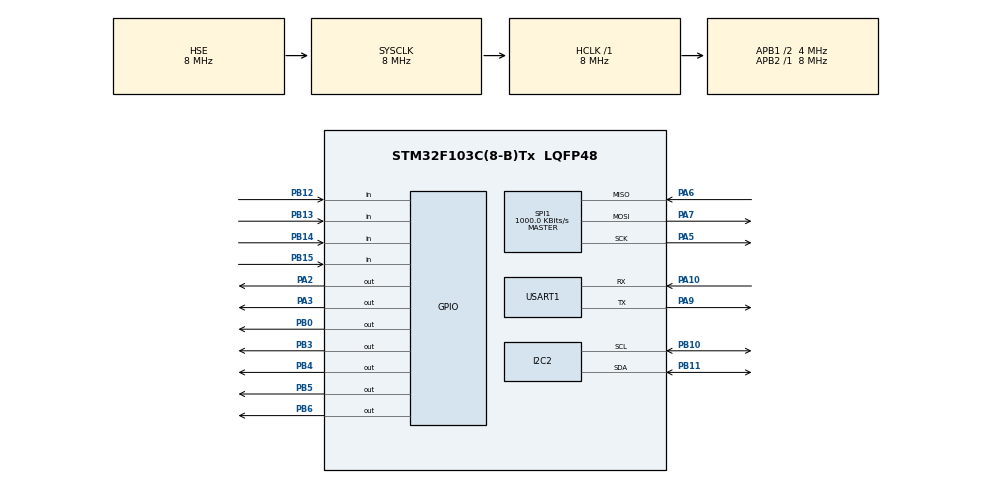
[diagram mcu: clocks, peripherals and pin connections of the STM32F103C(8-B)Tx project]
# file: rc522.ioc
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Dma.Request0=USART1_TX
Dma.USART1_TX.0.Direction=DMA_MEMORY_TO_PERIPH
Dma.USART1_TX.0.Instance=DMA1_Channel4
Dma.USART1_TX.0.MemDataAlignment=DMA_MDATAALIGN_BYTE
Dma.USART1_TX.0.MemInc=DMA_MINC_ENABLE
Dma.USART1_TX.0.Mode=DMA_NORMAL
Dma.USART1_TX.0.PeriphDataAlignment=DMA_PDATAALIGN_BYTE
Dma.USART1_TX.0.PeriphInc=DMA_PINC_DISABLE
Dma.USART1_TX.0.Priority=DMA_PRIORITY_LOW
I2C2.I2C_Mode=I2C_Fast
Mcu.Family=STM32F1
Mcu.Name=STM32F103C(8-B)Tx
Mcu.Package=LQFP48
NVIC.DMA1_Channel4_IRQn=true\:0\:0\:false\:false\:true\:false\:true\:true
NVIC.PriorityGroup=NVIC_PRIORITYGROUP_4
NVIC.USART1_IRQn=true\:1\:0\:true\:false\:true\:true\:true\:true
PA10.Mode=Asynchronous
PA10.Signal=USART1_RX
PA13.Mode=Serial_Wire
PA13.Signal=SYS_JTMS-SWDIO
PA14.Mode=Serial_Wire
PA14.Signal=SYS_JTCK-SWCLK
PA2.GPIO_PuPd=GPIO_PULLDOWN
PA2.GPIO_Speed=GPIO_SPEED_FREQ_LOW
PA2.Signal=GPIO_Output
PA3.Signal=GPIO_Output
PA5.Mode=Full_Duplex_Master
PA5.Signal=SPI1_SCK
PA6.Mode=Full_Duplex_Master
PA6.Signal=SPI1_MISO
PA7.Mode=Full_Duplex_Master
PA7.Signal=SPI1_MOSI
PA9.Mode=Asynchronous
PA9.Signal=USART1_TX
PB0.Signal=GPIO_Output
PB10.Mode=I2C
PB10.Signal=I2C2_SCL
PB11.Mode=I2C
PB11.Signal=I2C2_SDA
PB12.GPIO_Mode=GPIO_MODE_INPUT
PB12.GPIO_PuPd=GPIO_PULLUP
PB12.Signal=GPIO_Input
PB13.GPIO_Mode=GPIO_MODE_INPUT
PB13.GPIO_PuPd=GPIO_PULLUP
PB13.Signal=GPIO_Input
PB14.GPIO_Mode=GPIO_MODE_INPUT
PB14.GPIO_PuPd=GPIO_PULLUP
PB14.Signal=GPIO_Input
PB15.GPIO_Mode=GPIO_MODE_INPUT
PB15.GPIO_PuPd=GPIO_PULLUP
PB15.Signal=GPIO_Input
PB3.GPIO_PuPd=GPIO_PULLDOWN
PB3.Signal=GPIO_Output
PB4.GPIO_PuPd=GPIO_PULLDOWN
PB4.Signal=GPIO_Output
PB5.GPIO_PuPd=GPIO_PULLDOWN
PB5.Signal=GPIO_Output
PB6.GPIO_PuPd=GPIO_PULLDOWN
PB6.Signal=GPIO_Output
PD0-OSC_IN.Mode=HSE-External-Oscillator
PD0-OSC_IN.Signal=RCC_OSC_IN
PD1-OSC_OUT.Mode=HSE-External-Oscillator
PD1-OSC_OUT.Signal=RCC_OSC_OUT
ProjectManager.HeapSize=0x200
ProjectManager.StackSize=0x400
ProjectManager.TargetToolchain=STM32CubeIDE
RCC.AHBFreq_Value=8000000
RCC.APB1CLKDivider=RCC_HCLK_DIV2
RCC.APB1Freq_Value=4000000
RCC.APB1TimFreq_Value=8000000
RCC.APB2Freq_Value=8000000
RCC.APB2TimFreq_Value=8000000
RCC.HCLKFreq_Value=8000000
RCC.PLLMUL=RCC_PLL_MUL9
RCC.PLLSourceVirtual=RCC_PLLSOURCE_HSE
RCC.SYSCLKFreq_VALUE=8000000
RCC.SYSCLKSource=RCC_SYSCLKSOURCE_HSE
RCC.USBFreq_Value=72000000
SPI1.BaudRatePrescaler=SPI_BAUDRATEPRESCALER_8
SPI1.CalculateBaudRate=1000.0 KBits/s
SPI1.Direction=SPI_DIRECTION_2LINES
SPI1.Mode=SPI_MODE_MASTER
SPI1.VirtualType=VM_MASTER
USART1.VirtualMode=VM_ASYNC
VP_RTC_No_RTC_Output.Mode=RTC_OUT_NO
VP_RTC_VS_RTC_Activate.Mode=RTC_Enabled
VP_RTC_VS_RTC_Calendar.Mode=RTC_Calendar
board=custom

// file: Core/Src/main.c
/* USER CODE BEGIN Header */
/**
  ******************************************************************************
  * @file           : main.c
  * @brief          : Main program body
  ******************************************************************************
  * @attention
  *
  * Copyright (c) 2025 STMicroelectronics.
  * All rights reserved.
  *
  * This software is licensed under terms that can be found in the LICENSE file
  * in the root directory of this software component.
  * If no LICENSE file comes with this software, it is provided AS-IS.
  *
  ******************************************************************************
  */
/* USER CODE END Header */
#include "main.h"

/* USER CODE BEGIN Includes */
#include "stdio.h"
#include "ctype.h"
#include "ssd1306.h"
#include "fonts.h"
#include "rc522.h"
#include "string.h"
#include "STM32_Keypad4x4.h"
/* USER CODE END Includes */

/* USER CODE BEGIN PTD */
typedef struct Student Student;
RTC_TimeTypeDef sTime;
RTC_DateTypeDef sDate;

/* USER CODE END PTD */

/* USER CODE BEGIN PD */
#define BUFFER_SIZE 500
#define MAX_STUDENTS 20 // Số lượng học sinh tối đa

#define FIFO_SIZE 10  // Dung lượng FIFO tối đa (10 URL)
#define URL_MAX_LENGTH 256  // Độ dài tối đa của URL
#define DELAY_MS 10000  // Thời gian delay giữa các lần gửi
/* USER CODE END PD */

/* USER CODE BEGIN PM */
struct Student {
  int id;
  char name[30];
  char code[11];
  char msv[13] ;
  char State[5];
};

typedef struct {
    char urls[FIFO_SIZE][URL_MAX_LENGTH];
    int head;
    int tail;
    int count;
    uint8_t sending;
} FIFO_t;

FIFO_t fifo = { .head = 0, .tail = 0, .count = 0, .sending = 0 };

/* USER CODE END PM */

I2C_HandleTypeDef hi2c2;

RTC_HandleTypeDef hrtc;

SPI_HandleTypeDef hspi1;

UART_HandleTypeDef huart1;
DMA_HandleTypeDef hdma_usart1_tx;

/* USER CODE BEGIN PV */
uint32_t lastSendTime = 0;  // Thời gian gửi URL cuối cùng
uint8_t status;
uint8_t str[MAX_LEN]; // Max_LEN = 16
uint8_t sNum[5];
char uidStr[11]; // Chuỗi để chứa UID dạng hex
char Key;

uint16_t len;
char buffer[BUFFER_SIZE];
char bufferTime[20];
char thoi_gian[20] = "";
char hour[10] = "";
uint8_t mode = 0;
char key_pad[5];

char URL [256] = " ";
char master_key[] ="C37BAE2C3A";

int studentCount = 20;

const char* Web_App_URL = "https://script.google.com/macros/s/AKfycbw715puKRx8atB5so9LJqHkDj7WYHC81akzjndNMlAhuG8Q40vDWrL2WK9HzJIMv4UkVA/exec";

//https://script.google.com/macros/s/AKfycbwssVUpCzr_4ROx3tVCOe5E2DRa5P1MQEhmhk9Ac9i-iJqP1feV4W1Mz4AtUMRZseK9Gg/exec
Student students[11] = {
		{1,"kien","C37BAE2C3A","22a1701d0137",""},
		{2,"vu","01A11702B5","22a1701d0138",""},
		{3,"an","35983A0295","22a1701d0139",""},
		{4,"tuan","BED13F0252","22a1701d0140",""},
		{5,"hieu","544C46025C","22a1701d0141",""},
		{6,"quang","4EBC4302B3","22a1701d0142",""},
		{7,"khanh","F70B3802C6","22a1701d0143",""},
		{8,"lam"," ","22a1701d0144",""},
		{9,"nguyen"," ","22a1701d0145",""},
		{10,"hehe"," ","22a1701d0146",""}

};
uint8_t H_in = 0;
uint8_t M_in = 0;
uint8_t s_in = 0;
char timeBuffer [7] = {'0','0','0','0','0','0'};
/* USER CODE END PV */

void SystemClock_Config(void);
static void MX_GPIO_Init(void);
static void MX_DMA_Init(void);
static void MX_SPI1_Init(void);
static void MX_I2C2_Init(void);
static void MX_USART1_UART_Init(void);
static void MX_RTC_Init(void);

/* USER CODE BEGIN 0 */

	uint32_t getCurrentTimeMs() {

		HAL_RTC_GetTime(&hrtc, &sTime, RTC_FORMAT_BIN);
		HAL_RTC_GetDate(&hrtc, &sDate, RTC_FORMAT_BIN);  // Bắt buộc phải đọc Date để cập nhật Time

		return (sTime.Seconds * 1000);  // Chỉ lấy số giây

	}
	void addURLToFIFO(char *url) {
	    if (fifo.count < FIFO_SIZE) {
	        strncpy(fifo.urls[fifo.head], url, URL_MAX_LENGTH);
	        fifo.head = (fifo.head + 1) % FIFO_SIZE;
	        fifo.count++;
	    }
	}
	void sendURLToESP32_DMA() {
	    if (fifo.count > 0 && fifo.sending == 0) {
	        char *urlBuffer = fifo.urls[fifo.tail];
	        fifo.sending = 1;
	        HAL_UART_Transmit_DMA(&huart1, (uint8_t *)urlBuffer, strlen(urlBuffer));
	    }
	}
	void processSendURL() {
	    uint32_t currentTime = getCurrentTimeMs();
	    if (fifo.count > 0 && !fifo.sending && (currentTime - lastSendTime >= DELAY_MS)) {
	        sendURLToESP32_DMA();
	    }
	}

	void buzzer() {
		HAL_GPIO_WritePin(GPIOA, GPIO_PIN_2, GPIO_PIN_SET);
		HAL_Delay(200);
		HAL_GPIO_WritePin(GPIOA, GPIO_PIN_2, GPIO_PIN_RESET);
	}

	void convertUIDToString(uint8_t *uid, char *str) {
	    sprintf(str, "%02X%02X%02X%02X%02X", uid[0], uid[1], uid[2], uid[3], uid[4]);
	}
	void wait();
	void settingkey(void);
	void updateTime();

	char* getStudentNameById(char* uid) {
	  for (int i = 0; i < studentCount; i++) {
	    if (strcmp(students[i].code, uid) == 0) {
	      return students[i].name;
	    }
	  }
	  return NULL; // Trả về nullptr nếu không tìm thấy
	}

	char* getStudentMsvById(char* uid) {
	  for (int i = 0; i < studentCount; i++) {
	    if (strcmp(students[i].code, uid) == 0) {
	      return students[i].msv;
	    }
	  }
	  return NULL; // Trả về nullptr nếu không tìm thấy
	}

	char* getStudentStateById(char* uid) {
		  for (int i = 0; i < studentCount; i++) {
		    if (strcmp(students[i].code, uid) == 0) {
		      return students[i].State;
		    }
		  }
		  return NULL; // Trả về nullptr nếu không tìm thấy
		}

	void changeInOut (char* uid){

	      for (int i = 0; i < studentCount; i++) {
			if (strcmp(students[i].code, uid) == 0) {
				if(strcmp(students[i].State, "vao") == 0) {
					  strcpy(students[i].State, "ra");
				  }else {strcpy(students[i].State, "vao");}
			}
	      }
	}
	void urlencode(const char *str, char *encodedString, size_t maxSize) {
	    size_t j = 0;
	    for (size_t i = 0; str[i] != '\0' && j < maxSize - 1; i++) {
	        char c = str[i];
	        if (c == ' ') {
	            encodedString[j++] = '+';
	        } else if ( isalnum(c)) {
	            encodedString[j++] = c;
	        } else {
	            if (j + 3 < maxSize - 1) {
	                snprintf(&encodedString[j], 4, "%%%02X", (unsigned char)c);
	                j += 3;
	            } else {
	                break;
	            }
	        }
	    }
	    encodedString[j] = '\0';
	}

	const char* checkLate() {

	    HAL_RTC_GetTime(&hrtc, &sTime, RTC_FORMAT_BIN);  // Lấy thời gian hiện tại từ RTC

	    if (sTime.Hours > H_in ||
	       (sTime.Hours == H_in && sTime.Minutes > M_in) ||
	       (sTime.Hours == H_in && sTime.Minutes == M_in && sTime.Seconds > s_in)) {
	        return "DI MUON";  // Sinh viên quẹt thẻ sau giờ vào lớp
	    }
	    return "";  // Sinh viên đến đúng giờ hoặc sớm hơn
	}

	void CreadURL(){
	    HAL_RTC_GetTime(&hrtc, &sTime, RTC_FORMAT_BIN);
	    HAL_RTC_GetDate(&hrtc, &sDate, RTC_FORMAT_BIN);
	    sprintf(hour, "%02d:%02d:%02d",sTime.Hours, sTime.Minutes, sTime.Seconds);

//		char URL [256] = " ";

	  	char charArray[11];
		memcpy(charArray, uidStr, 11);
	  	char* studentName = getStudentNameById(charArray);
	  	char* studentMsv = getStudentMsvById(charArray);
	  	char* State = getStudentStateById(charArray);
	  	changeInOut(charArray);
	  	const char* vaomuon;
		if (strcmp(State, "vao") == 0){
				vaomuon = checkLate();  // Kiểm tra sinh viên có đi muộn không
		}else vaomuon = " ";

	  	if (studentName != NULL ) {
	 		SSD1306_Clear();
	 		SSD1306_GotoXY (0,0);
	 		SSD1306_Puts ("XAC NHAN", &Font_7x10, 1);
	 		SSD1306_GotoXY (0,20);
	 		SSD1306_Puts ("DIEM DANH", &Font_7x10, 1);
	 		SSD1306_GotoXY (0,40);
	 		SSD1306_Puts (studentMsv, &Font_7x10, 1);
	 		SSD1306_UpdateScreen();
	 		HAL_Delay(500);

	 		 char name[50] = " ";
	 		 char state[6] = " ";
	 		 char vaolop[20]= " ";
	 		 char time[15] = " ";
	 		urlencode(hour,time,sizeof(time));
	 		urlencode(studentName,name,sizeof(name));
	 		urlencode(State,state,sizeof(state));
	 		urlencode(vaomuon,vaolop,sizeof(vaolop));

			sprintf(URL, "%s?sts=writelog&uid=%s&name=%s&inout=%s&msv=%s&note=%s&time=%s",Web_App_URL, uidStr, name,state, studentMsv, vaolop, time );

			addURLToFIFO(URL);  // Lưu URL vào FIFO
			HAL_Delay(200);
			SSD1306_GotoXY (0,0);
			SSD1306_Puts ("        ", &Font_7x10, 1);
			SSD1306_GotoXY (0,0);
			SSD1306_Puts ("DANG LUU...", &Font_7x10, 1);
			SSD1306_UpdateScreen();
			HAL_Delay(200);

			wait();
	 	 }else {
	 		  SSD1306_Clear();
	 		  SSD1306_GotoXY (0,0);
	 		  SSD1306_Puts ("not found", &Font_7x10, 1);
	 		  SSD1306_GotoXY (0,20);
	 		  SSD1306_Puts (uidStr, &Font_7x10, 1);
	 		  SSD1306_UpdateScreen();
	 		 HAL_Delay(500);
	 		 wait();
	 	 }
		return ;
	}
	void print_oled (char *Prt,int x,int y){
		SSD1306_Clear();
		SSD1306_GotoXY (x,y);
		SSD1306_Puts ( Prt, &Font_7x10, 1);
		SSD1306_UpdateScreen();
	}
	void readUID(){

		  status = MFRC522_Request(PICC_REQIDL, str);
		  status = MFRC522_Anticoll(str);
		  if(status == 0){
			  buzzer();
			  HAL_Delay(200);
			 // memset(URL, 0, sizeof(URL));

			  convertUIDToString(str, uidStr);
			  HAL_Delay(500);
			  if (strcmp(uidStr, master_key) == 0){

			// vào chế độ cài đặt với thẻ bằng bàn phím
				  settingkey();

			//

			  }else{CreadURL();}
		  }

	}
	void delete_card () {
		SSD1306_Clear();
		SSD1306_GotoXY (0,0);
		SSD1306_Puts ("DELETE CARD...", &Font_7x10, 1);
		SSD1306_UpdateScreen();

		while (1) {
			status = MFRC522_Request(PICC_REQIDL, str);
			status = MFRC522_Anticoll(str);
			if(status == 0){
				  buzzer();
				  HAL_Delay(200);
				 // memset(URL, 0, sizeof(URL));

				  convertUIDToString(str, uidStr);
				  HAL_Delay(500);
				  if (strcmp(uidStr, master_key) == 0){

					  break;
				  }
				  for (int i = 0; i < studentCount; i++) {
						if (strcmp(students[i].code, uidStr) == 0) {
							strcpy(students[i].code, " ");

						}
				  }

					SSD1306_GotoXY (0,10);
					SSD1306_Puts ("DA XOA!!!", &Font_7x10, 1);
					SSD1306_UpdateScreen();
					HAL_Delay(2000);
					SSD1306_GotoXY (0,10);
					SSD1306_Puts ("          ", &Font_7x10, 1);
					SSD1306_UpdateScreen();

			}
		}
		return;
	}

	void add_card() {
		SSD1306_Clear();
		SSD1306_GotoXY (0,0);
		SSD1306_Puts ("ADD CARD MODE", &Font_7x10, 1);
		SSD1306_UpdateScreen();
		HAL_Delay(500);
		SSD1306_GotoXY (0,11);
		SSD1306_Puts ("DANH SACH SV:", &Font_7x10, 1);
		SSD1306_UpdateScreen();
		HAL_Delay(1000);
		SSD1306_Clear();

		char numberID[3] = "";
		int i = 0;
		char state;

		while(i < studentCount){

		  if (strcmp(students[i].code, " ") == 0) {

				SSD1306_GotoXY (0,0);
				SSD1306_Puts ("ID: ", &Font_7x10, 1);
				SSD1306_GotoXY (30,0);
				SSD1306_Puts ("          ", &Font_7x10, 1);
				SSD1306_GotoXY (30,0);
				sprintf(numberID, "%d",students[i].id);
				SSD1306_Puts (numberID, &Font_7x10, 1);
				SSD1306_GotoXY (0,10);
				SSD1306_Puts ("NAME: ", &Font_7x10, 1);
				SSD1306_GotoXY (40,10);
				SSD1306_Puts ("              ", &Font_7x10, 1);
				SSD1306_GotoXY (40,10);
				SSD1306_Puts (students[i].name, &Font_7x10, 1);
				SSD1306_GotoXY (0,20);
				SSD1306_Puts ("MSV: ", &Font_7x10, 1);
				SSD1306_GotoXY (30,20);
				SSD1306_Puts ("                ", &Font_7x10, 1);
				SSD1306_GotoXY (30,20);
				SSD1306_Puts (students[i].msv, &Font_7x10, 1);
				SSD1306_UpdateScreen();
			}else if (i == studentCount - 1) {
				i = 0;
				}else{
					i++;
					continue;
				}

			state = KEYPAD_Read();
			if (state){
			switch(state) {
				case '*' :

					break;
				case '#' :

					i++;
					break;
				default:
					break;
				}

			}
			if (state == '1') {

				break;
			}
		}
		int numID = atoi(numberID) - 1;
		SSD1306_Clear();
		SSD1306_GotoXY (0,0);
		SSD1306_Puts (numberID, &Font_7x10, 1);
		SSD1306_UpdateScreen();
		HAL_Delay(2000);

		SSD1306_Clear();
		wait();
		int bien_quet = 1;
		while (bien_quet) {
			status = MFRC522_Request(PICC_REQIDL, str);
			status = MFRC522_Anticoll(str);
			if(status == 0){
				  buzzer();
				  HAL_Delay(200);
				 // memset(URL, 0, sizeof(URL));
				  convertUIDToString(str, uidStr);
				  HAL_Delay(500);
				  if (strcmp(uidStr, master_key) == 0){
					  break;
				  }
				  int i = 0;
				  for (i = 0; i < studentCount; i++) {
						if (strcmp(students[i].code, uidStr) == 0) {
							SSD1306_Clear();
							SSD1306_GotoXY (0,0);
							SSD1306_Puts ("THE DA CO DATA", &Font_7x10, 1);
							SSD1306_UpdateScreen();
							HAL_Delay(1000);
							SSD1306_Clear();
							SSD1306_GotoXY (0,0);
							SSD1306_Puts ("HAY QUET THE KHAC", &Font_7x10, 1);
							SSD1306_UpdateScreen();
							HAL_Delay(1000);
							break;
						}
						if(i == studentCount - 1) {
							SSD1306_Clear();
							SSD1306_GotoXY (0,0);
							SSD1306_Puts ("DA THEM THE", &Font_7x10, 1);
						    strcpy(students[numID].code, uidStr);
						    SSD1306_UpdateScreen();
						    HAL_Delay(1000);
						    SSD1306_Clear();
						    bien_quet = 0;
						}
				  }

//					SSD1306_GotoXY (0,10);
//					SSD1306_Puts ("DA XOA!!!", &Font_7x10, 1);
//					SSD1306_UpdateScreen();
//					HAL_Delay(2000);
//					SSD1306_GotoXY (0,10);
//					SSD1306_Puts ("          ", &Font_7x10, 1);
//					SSD1306_UpdateScreen();

			}
		}
		return;
	}

	void setTimeFromKeypad() {

//	    // Chuyển chuỗi thành số nguyên
		H_in = (timeBuffer[0] - '0') * 10 + (timeBuffer[1] - '0');
		M_in = (timeBuffer[2] - '0') * 10 + (timeBuffer[3] - '0');
		s_in = (timeBuffer[4] - '0') * 10 + (timeBuffer[5] - '0');

	}

	void set_time_in() {

		uint8_t index = 0;
		char tg;
		char str[2];
		uint8_t count = 0;
		uint8_t x = 0;

		SSD1306_Clear();
//		SSD1306_GotoXY (0,0);
//		SSD1306_Puts ("00:00:00", &Font_7x10, 1);
		SSD1306_GotoXY (0,0);
		str[0] = timeBuffer[0];
		str[1] = '\0';
		SSD1306_Puts (str, &Font_7x10, 1);
		str[0] = timeBuffer[1];
		str[1] = '\0';
		SSD1306_Puts (str, &Font_7x10, 1);
		SSD1306_Puts (":", &Font_7x10, 1);
		str[0] = timeBuffer[2];
		str[1] = '\0';
		SSD1306_Puts (str, &Font_7x10, 1);
		str[0] = timeBuffer[3];
		str[1] = '\0';
		SSD1306_Puts (str, &Font_7x10, 1);
		SSD1306_Puts (":", &Font_7x10, 1);
		str[0] = timeBuffer[4];
		str[1] = '\0';
		SSD1306_Puts (str, &Font_7x10, 1);
		str[0] = timeBuffer[5];
		str[1] = '\0';
		SSD1306_Puts (str, &Font_7x10, 1);
		SSD1306_UpdateScreen();

		SSD1306_GotoXY (0,0);
		while(1){
			tg = KEYPAD_Read();  // Đọc phím

			if (tg) {
				x = index > 0 ? index*7 : 0;
				SSD1306_GotoXY (x,0);
				buzzer();
				if (tg >= '0' && tg <= '9' && count < 6) {
					str[0] = tg;
					str[1] = '\0';  // Ký tự kết thúc chuỗi
//					x = index > 0 ? index*7 : 0;
//					SSD1306_GotoXY (x,0);
					index++;
					SSD1306_Puts (str, &Font_7x10, 1);
					SSD1306_UpdateScreen();
					timeBuffer[count++] = tg;  // Lưu số vào buffer
					if (index == 2 || index == 5) {
						SSD1306_Puts (":", &Font_7x10, 1);
						SSD1306_UpdateScreen();
						index++;
					}
				} else if (tg == '*') {
					// Xóa nhập lại
					if (index == 0) {
						index = 0;
						--count;
					}else {
						if (index == 3 || index == 6) {
							index -=2 ;
						}else{
							--index;
						}

						--count;
					}

					x = index > 0 ? index*7 : 0;
					SSD1306_GotoXY (x,0);
					SSD1306_Puts ("0", &Font_7x10, 1);
					SSD1306_UpdateScreen();

				} else if (tg == '#' || count == 6 ) {
					timeBuffer[6] = '\0';  // Kết thúc chuỗi
					setTimeFromKeypad();  // Cập nhật RTC
					count = 0;  // Reset buffer
					index = 0;
					break;
				}
			}
		}

	}
void settingkey(void) {
		int i = 0;
		SSD1306_Clear();
		SSD1306_GotoXY (0,0);
		SSD1306_Puts ("1.DELETE CARD", &Font_7x10, 1);
		SSD1306_GotoXY (0,10);
		SSD1306_Puts ("2.ADD CARD", &Font_7x10, 1);
		SSD1306_GotoXY (0,20);
		SSD1306_Puts ("3.CAP NHAT TIME", &Font_7x10, 1);
		SSD1306_GotoXY (0,30);
		SSD1306_Puts ("4.SET TIME VAO LOP", &Font_7x10, 1);
		SSD1306_GotoXY (0,40);
		SSD1306_Puts ("ANY_KEY_FOR_EXIT", &Font_7x10, 1);
		SSD1306_UpdateScreen();
		HAL_Delay(20);
		while (i < 1) {
			Key = KEYPAD_Read();

			if (Key){
				  buzzer();
//				  key_pad[i] = Key;
//				  i++;
//			}
//				/* Read Keypad Every 100ms */
//				HAL_Delay(20);
			switch(Key) {
				case '1' :
					delete_card();
					break;
				case '2' :
					add_card();
					break;
				case '3' :
					updateTime();
					break;
				case '4' :
					set_time_in();
					break;
				default:
					break;

				}
			wait();
			return;
			}
		}

}

	void wait(){
		  SSD1306_Clear();
		  SSD1306_GotoXY (0,20);
		  SSD1306_Puts ("___HAY QUET THE____", &Font_7x10, 1);

		  SSD1306_UpdateScreen();

	}

	void set_RTC_from_string() {
		int year, month, day, hour, minute, second;
		sscanf(bufferTime, "%d-%d-%d %d:%d:%d", &year, &month, &day, &hour, &minute, &second);

	    sTime.Hours = (hour);
	    sTime.Minutes = (minute);
	    sTime.Seconds = (second+3);
	    HAL_RTC_SetTime(&hrtc, &sTime, RTC_FORMAT_BIN);

	    sDate.Year = (year - 2000);
	    sDate.Month = (month);
	    sDate.Date = (day);
	    HAL_RTC_SetDate(&hrtc, &sDate, RTC_FORMAT_BIN);

	}

	void Time(void) {
	    // Lấy thời gian từ RTC
	    HAL_RTC_GetTime(&hrtc, &sTime, RTC_FORMAT_BIN);
	    HAL_RTC_GetDate(&hrtc, &sDate, RTC_FORMAT_BIN);

	    // Định dạng chuỗi thời gian
	    sprintf(thoi_gian, "%02d:%02d:%02d",sTime.Hours, sTime.Minutes, sTime.Seconds);

	    // Hiển thị lên OLED

		SSD1306_GotoXY (36,45);
		SSD1306_Puts (thoi_gian, &Font_7x10, 1);

		  SSD1306_UpdateScreen();
	}
/* USER CODE END 0 */

int main(void)
{

  /* MCU Configuration--------------------------------------------------------*/

  /* Reset of all peripherals, Initializes the Flash interface and the Systick. */
  HAL_Init();
  HAL_Delay(5000);

  /* Configure the system clock */
  SystemClock_Config();

  /* Initialize all configured peripherals */
  MX_GPIO_Init();
  MX_DMA_Init();
  MX_SPI1_Init();
  MX_I2C2_Init();
  MX_USART1_UART_Init();
  MX_RTC_Init();
  /* USER CODE BEGIN 2 */

  MFRC522_Init();
  HAL_Delay(1000);
  SSD1306_Init();

//  HAL_UART_Receive_IT(&huart1, (uint8_t*)&len, sizeof(len));

	  SSD1306_GotoXY (0,0);
	  SSD1306_Puts ("////////////////", &Font_7x10, 1);
	  SSD1306_GotoXY (0, 30);
	  SSD1306_Puts ("Xin Chao", &Font_7x10, 1);
	  SSD1306_UpdateScreen();
	  HAL_Delay (1000);

	  SSD1306_ScrollRight(0,7);
	  HAL_Delay(3000);
	  SSD1306_ScrollLeft(0,7);
	  HAL_Delay(3000);
	  SSD1306_Stopscroll();
	  SSD1306_Clear();

	SSD1306_Fill(1);
	SSD1306_UpdateScreen();
	HAL_Delay(1000);
	SSD1306_Clear();
	wait();

	HAL_UART_Transmit(&huart1, (uint8_t*)"time", sizeof("time"), HAL_MAX_DELAY);
	HAL_Delay(500);
	HAL_UART_Receive_IT(&huart1, (uint8_t*)bufferTime, 19);
	HAL_Delay(2000);
	set_RTC_from_string();
	HAL_Delay(1000);

  /* USER CODE END 2 */

  /* Infinite loop */
  /* USER CODE BEGIN WHILE */
  while (1)
  {
//  	  SSD1306_GotoXY (0,0);
//  	  SSD1306_Puts (" ", &Font_8x8, 1);

	  readUID();
	  Time();
	  processSendURL();

    /* USER CODE END WHILE */

  }
}

void SystemClock_Config(void)
{
  RCC_OscInitTypeDef RCC_OscInitStruct = {0};
  RCC_ClkInitTypeDef RCC_ClkInitStruct = {0};
  RCC_PeriphCLKInitTypeDef PeriphClkInit = {0};

  /** Initializes the RCC Oscillators according to the specified parameters
  * in the RCC_OscInitTypeDef structure.
  */
  RCC_OscInitStruct.OscillatorType = RCC_OSCILLATORTYPE_LSI|RCC_OSCILLATORTYPE_HSE;
  RCC_OscInitStruct.HSEState = RCC_HSE_ON;
  RCC_OscInitStruct.LSIState = RCC_LSI_ON;
  RCC_OscInitStruct.PLL.PLLState = RCC_PLL_NONE;
  if (HAL_RCC_OscConfig(&RCC_OscInitStruct) != HAL_OK)
  {
    Error_Handler();
  }

  /** Initializes the CPU, AHB and APB buses clocks
  */
  RCC_ClkInitStruct.ClockType = RCC_CLOCKTYPE_HCLK|RCC_CLOCKTYPE_SYSCLK
                              |RCC_CLOCKTYPE_PCLK1|RCC_CLOCKTYPE_PCLK2;
  RCC_ClkInitStruct.SYSCLKSource = RCC_SYSCLKSOURCE_HSE;
  RCC_ClkInitStruct.AHBCLKDivider = RCC_SYSCLK_DIV1;
  RCC_ClkInitStruct.APB1CLKDivider = RCC_HCLK_DIV2;
  RCC_ClkInitStruct.APB2CLKDivider = RCC_HCLK_DIV1;

  if (HAL_RCC_ClockConfig(&RCC_ClkInitStruct, FLASH_LATENCY_0) != HAL_OK)
  {
    Error_Handler();
  }
  PeriphClkInit.PeriphClockSelection = RCC_PERIPHCLK_RTC;
  PeriphClkInit.RTCClockSelection = RCC_RTCCLKSOURCE_LSI;
  if (HAL_RCCEx_PeriphCLKConfig(&PeriphClkInit) != HAL_OK)
  {
    Error_Handler();
  }
}

static void MX_I2C2_Init(void)
{

  hi2c2.Instance = I2C2;
  hi2c2.Init.ClockSpeed = 400000;
  hi2c2.Init.DutyCycle = I2C_DUTYCYCLE_2;
  hi2c2.Init.OwnAddress1 = 0;
  hi2c2.Init.AddressingMode = I2C_ADDRESSINGMODE_7BIT;
  hi2c2.Init.DualAddressMode = I2C_DUALADDRESS_DISABLE;
  hi2c2.Init.OwnAddress2 = 0;
  hi2c2.Init.GeneralCallMode = I2C_GENERALCALL_DISABLE;
  hi2c2.Init.NoStretchMode = I2C_NOSTRETCH_DISABLE;
  if (HAL_I2C_Init(&hi2c2) != HAL_OK)
  {
    Error_Handler();
  }

}

static void MX_RTC_Init(void)
{

  RTC_TimeTypeDef sTime = {0};
  RTC_DateTypeDef DateToUpdate = {0};

  /** Initialize RTC Only
  */
  hrtc.Instance = RTC;
  hrtc.Init.AsynchPrediv = RTC_AUTO_1_SECOND;
  hrtc.Init.OutPut = RTC_OUTPUTSOURCE_NONE;
  if (HAL_RTC_Init(&hrtc) != HAL_OK)
  {
    Error_Handler();
  }

  /** Initialize RTC and set the Time and Date
  */
  sTime.Hours = 0x0;
  sTime.Minutes = 0x0;
  sTime.Seconds = 0x0;

  if (HAL_RTC_SetTime(&hrtc, &sTime, RTC_FORMAT_BCD) != HAL_OK)
  {
    Error_Handler();
  }
  DateToUpdate.WeekDay = RTC_WEEKDAY_MONDAY;
  DateToUpdate.Month = RTC_MONTH_JANUARY;
  DateToUpdate.Date = 0x1;
  DateToUpdate.Year = 0x0;

  if (HAL_RTC_SetDate(&hrtc, &DateToUpdate, RTC_FORMAT_BCD) != HAL_OK)
  {
    Error_Handler();
  }

}

static void MX_SPI1_Init(void)
{

  /* SPI1 parameter configuration*/
  hspi1.Instance = SPI1;
  hspi1.Init.Mode = SPI_MODE_MASTER;
  hspi1.Init.Direction = SPI_DIRECTION_2LINES;
  hspi1.Init.DataSize = SPI_DATASIZE_8BIT;
  hspi1.Init.CLKPolarity = SPI_POLARITY_LOW;
  hspi1.Init.CLKPhase = SPI_PHASE_1EDGE;
  hspi1.Init.NSS = SPI_NSS_SOFT;
  hspi1.Init.BaudRatePrescaler = SPI_BAUDRATEPRESCALER_8;
  hspi1.Init.FirstBit = SPI_FIRSTBIT_MSB;
  hspi1.Init.TIMode = SPI_TIMODE_DISABLE;
  hspi1.Init.CRCCalculation = SPI_CRCCALCULATION_DISABLE;
  hspi1.Init.CRCPolynomial = 10;
  if (HAL_SPI_Init(&hspi1) != HAL_OK)
  {
    Error_Handler();
  }

}

static void MX_USART1_UART_Init(void)
{

  huart1.Instance = USART1;
  huart1.Init.BaudRate = 115200;
  huart1.Init.WordLength = UART_WORDLENGTH_8B;
  huart1.Init.StopBits = UART_STOPBITS_1;
  huart1.Init.Parity = UART_PARITY_NONE;
  huart1.Init.Mode = UART_MODE_TX_RX;
  huart1.Init.HwFlowCtl = UART_HWCONTROL_NONE;
  huart1.Init.OverSampling = UART_OVERSAMPLING_16;
  if (HAL_UART_Init(&huart1) != HAL_OK)
  {
    Error_Handler();
  }

}

static void MX_DMA_Init(void)
{

  /* DMA controller clock enable */
  __HAL_RCC_DMA1_CLK_ENABLE();

  /* DMA interrupt init */
  /* DMA1_Channel4_IRQn interrupt configuration */
  HAL_NVIC_SetPriority(DMA1_Channel4_IRQn, 0, 0);
  HAL_NVIC_EnableIRQ(DMA1_Channel4_IRQn);

}

static void MX_GPIO_Init(void)
{
  GPIO_InitTypeDef GPIO_InitStruct = {0};

  /* GPIO Ports Clock Enable */
  __HAL_RCC_GPIOD_CLK_ENABLE();
  __HAL_RCC_GPIOA_CLK_ENABLE();
  __HAL_RCC_GPIOB_CLK_ENABLE();

  /*Configure GPIO pin Output Level */
  HAL_GPIO_WritePin(GPIOA, GPIO_PIN_2|GPIO_PIN_3, GPIO_PIN_RESET);

  /*Configure GPIO pin Output Level */
  HAL_GPIO_WritePin(GPIOB, GPIO_PIN_0|GPIO_PIN_3|GPIO_PIN_4|GPIO_PIN_5
                          |GPIO_PIN_6, GPIO_PIN_RESET);

  /*Configure GPIO pin : PA2 */
  GPIO_InitStruct.Pin = GPIO_PIN_2;
  GPIO_InitStruct.Mode = GPIO_MODE_OUTPUT_PP;
  GPIO_InitStruct.Pull = GPIO_PULLDOWN;
  GPIO_InitStruct.Speed = GPIO_SPEED_FREQ_LOW;
  HAL_GPIO_Init(GPIOA, &GPIO_InitStruct);

  /*Configure GPIO pin : PA3 */
  GPIO_InitStruct.Pin = GPIO_PIN_3;
  GPIO_InitStruct.Mode = GPIO_MODE_OUTPUT_PP;
  GPIO_InitStruct.Pull = GPIO_NOPULL;
  GPIO_InitStruct.Speed = GPIO_SPEED_FREQ_LOW;
  HAL_GPIO_Init(GPIOA, &GPIO_InitStruct);

  /*Configure GPIO pin : PB0 */
  GPIO_InitStruct.Pin = GPIO_PIN_0;
  GPIO_InitStruct.Mode = GPIO_MODE_OUTPUT_PP;
  GPIO_InitStruct.Pull = GPIO_NOPULL;
  GPIO_InitStruct.Speed = GPIO_SPEED_FREQ_LOW;
  HAL_GPIO_Init(GPIOB, &GPIO_InitStruct);

  /*Configure GPIO pins : PB12 PB13 PB14 PB15 */
  GPIO_InitStruct.Pin = GPIO_PIN_12|GPIO_PIN_13|GPIO_PIN_14|GPIO_PIN_15;
  GPIO_InitStruct.Mode = GPIO_MODE_INPUT;
  GPIO_InitStruct.Pull = GPIO_PULLUP;
  HAL_GPIO_Init(GPIOB, &GPIO_InitStruct);

  /*Configure GPIO pins : PB3 PB4 PB5 PB6 */
  GPIO_InitStruct.Pin = GPIO_PIN_3|GPIO_PIN_4|GPIO_PIN_5|GPIO_PIN_6;
  GPIO_InitStruct.Mode = GPIO_MODE_OUTPUT_PP;
  GPIO_InitStruct.Pull = GPIO_PULLDOWN;
  GPIO_InitStruct.Speed = GPIO_SPEED_FREQ_LOW;
  HAL_GPIO_Init(GPIOB, &GPIO_InitStruct);

}

/* USER CODE BEGIN 4 */

void updateTime() {
	SSD1306_Clear();
	SSD1306_GotoXY (0,0);
	SSD1306_Puts ("UPDATE TIME", &Font_7x10, 1);
	SSD1306_UpdateScreen();
	HAL_Delay(100);
	HAL_UART_Transmit(&huart1, (uint8_t*)"time", sizeof("time"), HAL_MAX_DELAY);
	HAL_Delay(200);
	HAL_UART_Receive_IT(&huart1, (uint8_t*)bufferTime, 19);
	HAL_Delay(2000);
	set_RTC_from_string();
//	HAL_Delay(1000);
}
void HAL_UART_RxCpltCallback(UART_HandleTypeDef *huart){
    if (huart->Instance == huart1.Instance) {  // Kiểm tra UART nào gọi callback

//        // 2. Kiểm tra nếu độ dài quá lớn
//        if (len >= BUFFER_SIZE) len = BUFFER_SIZE - 1;
//
//        // 3. Nhận đúng số byte dữ liệu
//        HAL_UART_Receive_IT(&huart1, (uint8_t*)buffer, len);
//
//        // 4. Kết thúc chuỗi để tránh lỗi in ra màn hình
//        buffer[len] = '\0';
//    	readData(buffer,len);
//        HAL_UART_Transmit(&huart1,(uint8_t*)buffer, len , HAL_MAX_DELAY);

//        HAL_UART_Receive_IT(&huart1, (uint8_t*)&len, sizeof(len));  // Khởi động lại nhận

    }
}
void HAL_UART_TxCpltCallback(UART_HandleTypeDef *huart){
    if (huart->Instance == huart1.Instance) {  // Kiểm tra UART nào gọi callback

        fifo.sending = 0;
        fifo.tail = (fifo.tail + 1) % FIFO_SIZE;
        fifo.count--;

        // Cập nhật thời gian gửi cuối cùng
        lastSendTime = getCurrentTimeMs();

    }
}
/* USER CODE END 4 */

void Error_Handler(void)
{
  __disable_irq();
  while (1)
  {
  }
}
